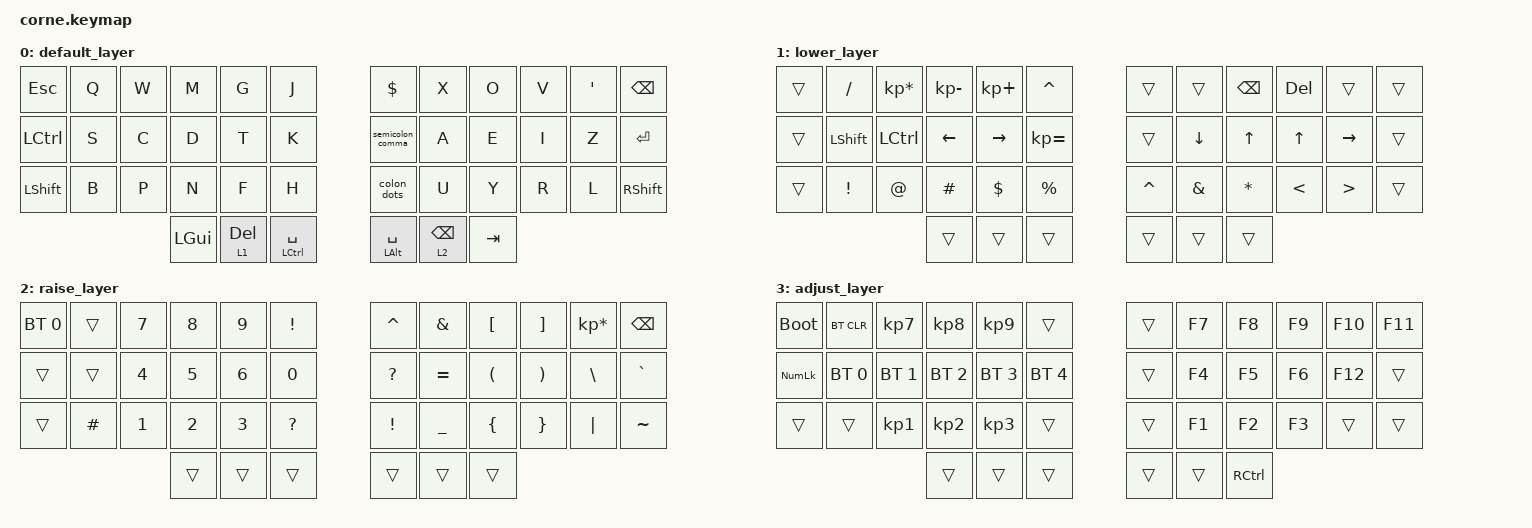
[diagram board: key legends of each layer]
#include <behaviors.dtsi>
#include <dt-bindings/zmk/bt.h>
#include <dt-bindings/zmk/keys.h>

/* ==============================================================================
 * 1. DEFINICJE POZYCJI KLAWISZY
 * ============================================================================== */

#define KEYS_L 0 1 2 3 4 5 12 13 14 15 16 17 24 25 26 27 28 29
#define KEYS_R 6 7 8 9 10 11 18 19 20 21 22 23 30 31 32 33 34 35
#define THUMBS 36 37 38 39 40 41

/ {
    /* ==============================================================================
     * SEKCJA MAKRA
     * ============================================================================== */

    macros {
        nowa_linijka_ponizej: nowa_linijka_ponizej {
            compatible = "zmk,behavior-macro";
            #binding-cells = <0>;
            wait-ms = <20>;
            bindings = <&kp END &kp RET>;
            label = "NL_DOWN";
        };

        nowa_linijka_powyzej: nowa_linijka_powyzej {
            compatible = "zmk,behavior-macro";
            #binding-cells = <0>;
            wait-ms = <20>;
            bindings = <&kp HOME &kp RET &kp UP_ARROW>;
            label = "NL_UP";
        };

        del_to_end: del_to_end {
            compatible = "zmk,behavior-macro";
            #binding-cells = <0>;
            wait-ms = <20>;
            bindings = <&kp LS(END) &kp BACKSPACE>;
            label = "DEL_END";
        };

        del_to_start: del_to_start {
            compatible = "zmk,behavior-macro";
            #binding-cells = <0>;
            wait-ms = <20>;
            bindings = <&kp LS(HOME) &kp BACKSPACE>;
            label = "DEL_START";
        };

        cur_bef_first_char_in_line: cur_bef_first_char_in_line {
            compatible = "zmk,behavior-macro";
            #binding-cells = <0>;
            bindings = <&kp HOME>;
            label = "CUR_START";
        };

        kill_line: kill_line {
            compatible = "zmk,behavior-macro";
            #binding-cells = <0>;
            bindings = <&kp END &kp LS(HOME) &kp BACKSPACE &kp BACKSPACE>;
            label = "KILL_LINE";
        };
    };

    /* ==============================================================================
     * SEKCJA BEHAVIORS (ZACHOWANIA)
     * ============================================================================== */

    behaviors {
        /* HL_L (Dla lewej ręki) */

        hl_l: hold_letter_left {
            compatible = "zmk,behavior-hold-tap";
            label = "HL_LEFT";
            #binding-cells = <2>;
            flavor = "tap-preferred";
            tapping-term-ms = <200>;
            require-prior-idle-ms = <125>;
            bindings = <&kp>, <&kp>;

            hold-trigger-key-positions = <KEYS_R THUMBS>;
            hold-trigger-on-release;
        };

        /* HL_R (Dla prawej ręki) */

        hl_r: hold_letter_right {
            compatible = "zmk,behavior-hold-tap";
            label = "HL_RIGHT";
            #binding-cells = <2>;
            flavor = "tap-preferred";
            tapping-term-ms = <200>;
            require-prior-idle-ms = <125>;
            bindings = <&kp>, <&kp>;

            hold-trigger-key-positions = <KEYS_L THUMBS>;
            hold-trigger-on-release;
        };

        /* Ogólny HL */

        hl: hold_letter_general {
            compatible = "zmk,behavior-hold-tap";
            label = "HL_GENERAL";
            #binding-cells = <2>;
            flavor = "tap-preferred";
            tapping-term-ms = <200>;
            require-prior-idle-ms = <125>;
            bindings = <&kp>, <&kp>;
        };

        /* Home Mods */

        hm: home_mods {
            compatible = "zmk,behavior-hold-tap";
            label = "HOME_MODS";
            #binding-cells = <2>;
            flavor = "balanced";
            tapping-term-ms = <200>;
            bindings = <&kp>, <&kp>;
        };

        /* Tap Dance */

        td_down: td_down {
            compatible = "zmk,behavior-tap-dance";
            label = "TD_DOWN";
            #binding-cells = <0>;
            tapping-term-ms = <200>;
            bindings = <&kp DOWN>, <&nowa_linijka_ponizej>;
        };

        td_up: td_up {
            compatible = "zmk,behavior-tap-dance";
            label = "TD_UP";
            #binding-cells = <0>;
            tapping-term-ms = <200>;
            bindings = <&kp UP>, <&nowa_linijka_powyzej>;
        };

        copy_paste: copy_paste {
            compatible = "zmk,behavior-tap-dance";
            label = "COPY_PASTE";
            #binding-cells = <0>;
            bindings = <&kp LC(C)>, <&kp LC(V)>, <&kp LC(X)>;
        };

        semicolon_comma: semicolon_comma {
            compatible = "zmk,behavior-mod-morph";
            label = "SEMICOLON_COMMA";
            bindings = <&kp COMMA>, <&kp SEMI>;

            #binding-cells = <0>;
            mods = <(MOD_LSFT)>;
        };

        colon_dots: colon_dots {
            compatible = "zmk,behavior-mod-morph";
            label = "COLON_DOTS";
            bindings = <&kp PERIOD>, <&kp COLON>;

            #binding-cells = <0>;
            mods = <(MOD_LSFT)>;
        };
    };

    conditional_layers {
        compatible = "zmk,conditional-layers";

        tri_layer {
            if-layers = <1 2>;
            then-layer = <3>;
        };
    };

    combos {
        compatible = "zmk,combos";

        cur_to_line_start {
            bindings = <&cur_bef_first_char_in_line>;
            key-positions = <19 20>;
            layers = <1>;
        };

        cur_to_line_end {
            bindings = <&kp END>;
            key-positions = <21 22>;
            layers = <1>;
        };

        del_to_start {
            bindings = <&del_to_start>;
            key-positions = <13 14>;
            layers = <1>;
        };

        del_to_end {
            bindings = <&del_to_end>;
            key-positions = <15 16>;
            layers = <1>;
        };

        ralt_kciuki {
            bindings = <&sk RALT>;
            key-positions = <37 40>;
        };

        o_pol {
            bindings = <&kp RA(O)>;
            key-positions = <39 8>;
            layers = <0>;
        };

        s_pol {
            bindings = <&kp RA(S)>;
            key-positions = <38 13>;
            layers = <0>;
        };

        a_pol {
            bindings = <&kp RA(A)>;
            key-positions = <39 19>;
            layers = <0>;
        };

        c_pol {
            bindings = <&kp RA(C)>;
            key-positions = <38 14>;
            layers = <0>;
        };

        l_pol {
            bindings = <&kp RA(L)>;
            key-positions = <39 34>;
            layers = <0>;
        };

        n_pol {
            bindings = <&kp RA(N)>;
            key-positions = <38 27>;
            layers = <0>;
        };

        e_pol {
            bindings = <&kp RA(E)>;
            key-positions = <39 20>;
            layers = <0>;
        };

        z_pol {
            bindings = <&kp RA(Z)>;
            key-positions = <39 22>;
            layers = <0>;
        };

        x_pol {
            bindings = <&kp RA(X)>;
            key-positions = <39 7>;
            layers = <0>;
        };

        v_pol {
            bindings = <&kp RA(Z)>;
            key-positions = <10 39>;
        };
    };

    keymap {
        compatible = "zmk,keymap";

        /* DEFAULT LAYER - Usunięto błąd duplikacji i ======= */

        default_layer {
            bindings = <
&kp ESC         &kp Q  &kp W  &kp M         &kp G         &kp J              &kp DOLLAR        &kp X            &kp O    &kp V  &kp SQT  &kp BACKSPACE
&kp LCTRL       &kp S  &kp C  &kp D         &kp T         &kp K              &semicolon_comma  &kp A            &kp E    &kp I  &kp Z    &kp RET
&kp LEFT_SHIFT  &kp B  &kp P  &kp N         &kp F         &kp H              &colon_dots       &kp U            &kp Y    &kp R  &kp L    &kp RSHIFT
                              &kp LEFT_GUI  &lt 1 DELETE  &mt LCTRL SPACE    &mt LALT SPACE    &lt 2 BACKSPACE  &kp TAB
            >;
        };

        /* LOWER LAYER */

        lower_layer {
            bindings = <
&trans  &kp SLASH        &kp KP_ASTERISK  &kp KP_MINUS  &kp KP_PLUS  &kp CARET       &trans     &trans         &kp BACKSPACE  &kp DEL        &trans            &trans
&trans  &kp LSHFT        &kp LCTRL        &kp LEFT      &kp RIGHT    &kp KP_EQUAL    &trans     &kp DOWN       &kp UP         &kp UP         &kp RIGHT         &trans
&trans  &kp EXCLAMATION  &kp AT_SIGN      &kp HASH      &kp DOLLAR   &kp PERCENT     &kp CARET  &kp AMPERSAND  &kp ASTERISK   &kp LESS_THAN  &kp GREATER_THAN  &trans
                                          &trans        &trans       &trans          &trans     &trans         &trans
            >;
        };

        /* RAISE LAYER - Poprawione nazwy klawiszy NumPada */

        raise_layer {
            bindings = <
&bt BT_SEL 0  &trans    &kp N7  &kp N8  &kp N9  &kp EXCL     &kp CARET        &kp AMPS   &kp LEFT_BRACKET      &kp RIGHT_BRACKET      &kp KP_MULTIPLY  &kp BSPC
&trans        &trans    &kp N4  &kp N5  &kp N6  &kp N0       &kp QUESTION     &kp EQUAL  &kp LEFT_PARENTHESIS  &kp RIGHT_PARENTHESIS  &kp BSLH         &kp GRAVE
&trans        &kp HASH  &kp N1  &kp N2  &kp N3  &kp QMARK    &kp EXCLAMATION  &kp UNDER  &kp LEFT_BRACE        &kp RIGHT_BRACE        &kp PIPE         &kp TILDE
                                &trans  &trans  &trans       &trans           &trans     &trans
            >;
        };

        /* ADJUST LAYER - Dodane sterowanie Bluetooth */

        adjust_layer {
            bindings = <
&bootloader     &bt BT_CLR    &kp KP_N7     &kp KP_N8     &kp KP_N9     &trans          &trans  &kp F7  &kp F8             &kp F9  &kp F10  &kp F11
&kp KP_NUMLOCK  &bt BT_SEL 0  &bt BT_SEL 1  &bt BT_SEL 2  &bt BT_SEL 3  &bt BT_SEL 4    &trans  &kp F4  &kp F5             &kp F6  &kp F12  &trans
&trans          &trans        &kp KP_N1     &kp KP_N2     &kp KP_N3     &trans          &trans  &kp F1  &kp F2             &kp F3  &trans   &trans
                                            &trans        &trans        &trans          &trans  &trans  &kp RIGHT_CONTROL
            >;
        };
    };
};
